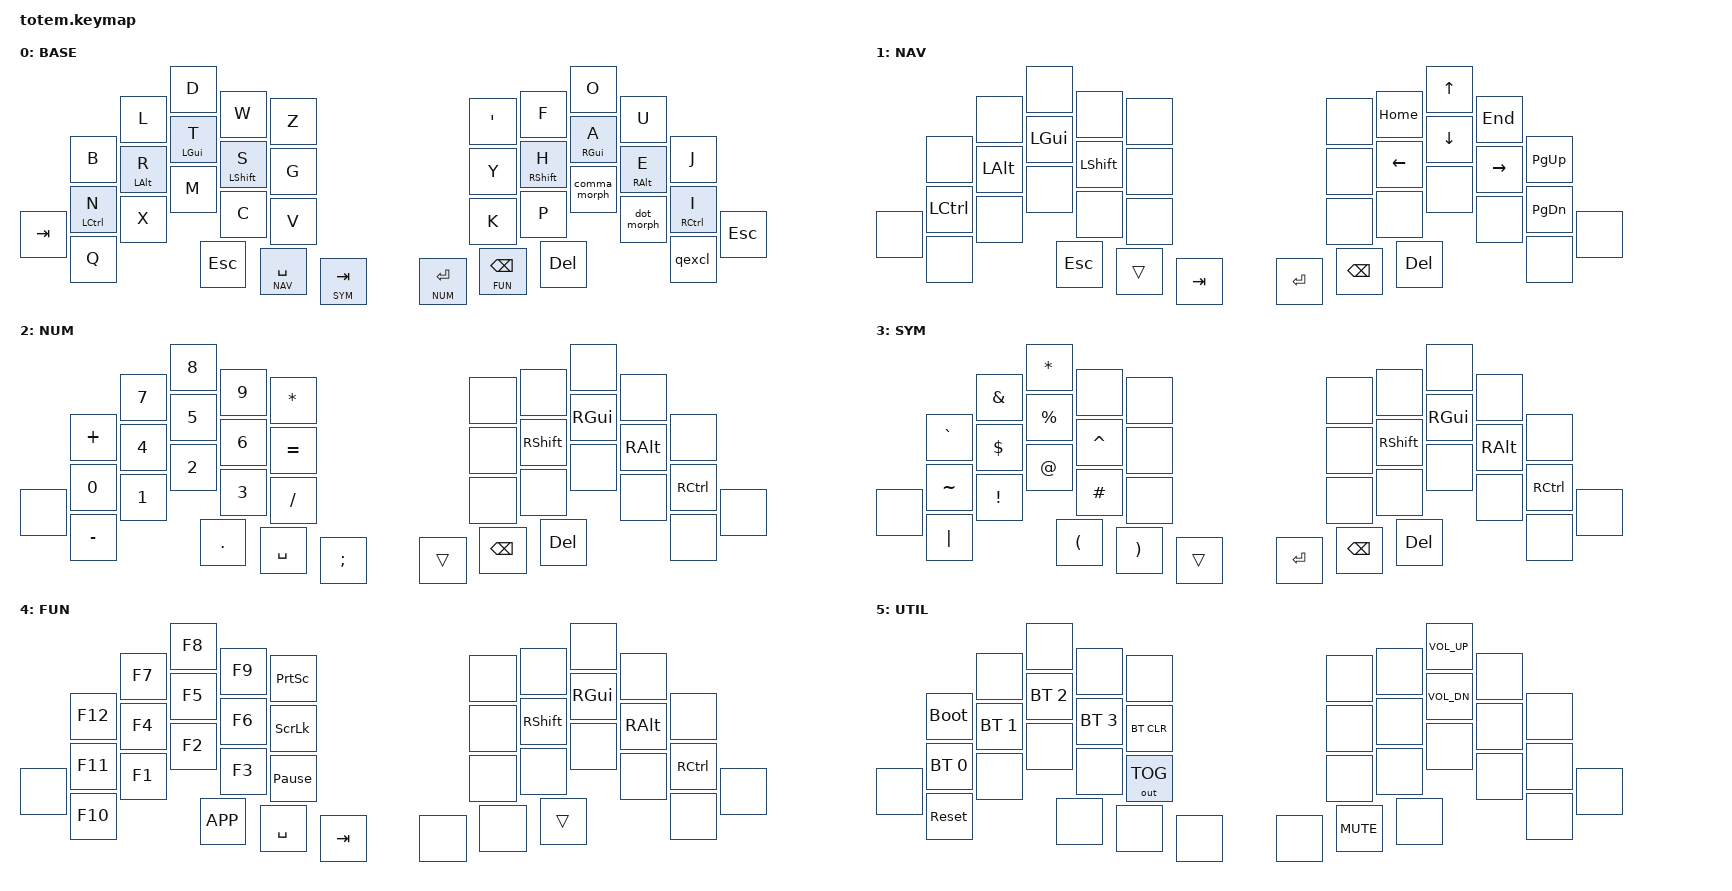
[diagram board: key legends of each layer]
/*
 * Graphite + Miryoku-style keymap for TOTEM 38-key
 *
 * Alphas: Graphite (https://github.com/rdavison/graphite-layout)
 * Layers: Miryoku-inspired (Nav, Num, Sym, Fun, Util)
 * HRMs:   urob's timer-less home row mods
 * Combos: Vertical/horizontal symbol combos (bsag-inspired)
 *
 * Key positions:
 *          0   1   2   3   4       5   6   7   8   9
 *         10  11  12  13  14      15  16  17  18  19
 *   20    21  22  23  24  25      26  27  28  29  30   31
 *                 32  33  34      35  36  37
 */

#include <behaviors.dtsi>
#include <dt-bindings/zmk/keys.h>
#include <dt-bindings/zmk/bt.h>
#include <dt-bindings/zmk/outputs.h>

#define BASE 0
#define NAV  1
#define NUM  2
#define SYM  3
#define FUN  4
#define UTIL 5

#define XXX &none
#define ___ &trans

#define QUICK_TAP_MS 175

/* ── key position groups for HRMs ── */
#define KEYS_L 0 1 2 3 4 10 11 12 13 14 20 21 22 23 24 25
#define KEYS_R 5 6 7 8 9 15 16 17 18 19 26 27 28 29 30 31
#define THUMBS 32 33 34 35 36 37

/* ── general config ── */

&caps_word {
    continue-list = <UNDERSCORE MINUS BACKSPACE DELETE>;
};

&sk {
    release-after-ms = <2000>;
    quick-release;
};

&lt {
    flavor = "balanced";
    tapping-term-ms = <200>;
    quick-tap-ms = <QUICK_TAP_MS>;
};

/* ── urob-style home row mods ── */

/ {
    behaviors {
        hml: home_row_mod_left {
            compatible = "zmk,behavior-hold-tap";
            #binding-cells = <2>;
            flavor = "balanced";
            tapping-term-ms = <280>;
            quick-tap-ms = <QUICK_TAP_MS>;
            require-prior-idle-ms = <150>;
            bindings = <&kp>, <&kp>;
            hold-trigger-key-positions = <KEYS_R THUMBS>;
            hold-trigger-on-release;
        };

        hmr: home_row_mod_right {
            compatible = "zmk,behavior-hold-tap";
            #binding-cells = <2>;
            flavor = "balanced";
            tapping-term-ms = <280>;
            quick-tap-ms = <QUICK_TAP_MS>;
            require-prior-idle-ms = <150>;
            bindings = <&kp>, <&kp>;
            hold-trigger-key-positions = <KEYS_L THUMBS>;
            hold-trigger-on-release;
        };

        /* comma → semicolon when shifted */
        comma_morph: comma_morph {
            compatible = "zmk,behavior-mod-morph";
            #binding-cells = <0>;
            bindings = <&kp COMMA>, <&kp SEMICOLON>;
            mods = <(MOD_LSFT|MOD_RSFT)>;
        };

        /* dot → colon when shifted */
        dot_morph: dot_morph {
            compatible = "zmk,behavior-mod-morph";
            #binding-cells = <0>;
            bindings = <&kp DOT>, <&kp COLON>;
            mods = <(MOD_LSFT|MOD_RSFT)>;
        };

        /* qmark → excl when shifted */
        qexcl: qexcl {
            compatible = "zmk,behavior-mod-morph";
            #binding-cells = <0>;
            bindings = <&kp QMARK>, <&kp EXCL>;
            mods = <(MOD_LSFT|MOD_RSFT)>;
        };
    };

/* ── combos ── */

    combos {
        compatible = "zmk,combos";

        /* caps word: both index home row keys */
        combo_capsw {
            timeout-ms = <30>;
            key-positions = <13 16>;
            bindings = <&caps_word>;
            layers = <BASE NAV NUM>;
        };

        /* ── left hand vertical: top + home ── */
        combo_at {
            timeout-ms = <30>;
            key-positions = <1 11>;
            bindings = <&kp AT>;
            layers = <BASE NAV NUM>;
            require-prior-idle-ms = <150>;
        };
        combo_hash {
            timeout-ms = <30>;
            key-positions = <2 12>;
            bindings = <&kp HASH>;
            layers = <BASE NAV NUM>;
            require-prior-idle-ms = <150>;
        };
        combo_dllr {
            timeout-ms = <30>;
            key-positions = <3 13>;
            bindings = <&kp DLLR>;
            layers = <BASE NAV NUM>;
            require-prior-idle-ms = <150>;
        };
        combo_prcnt {
            timeout-ms = <30>;
            key-positions = <4 14>;
            bindings = <&kp PRCNT>;
            layers = <BASE NAV NUM>;
            require-prior-idle-ms = <150>;
        };

        /* ── left hand vertical: home + bottom ── */
        combo_grave {
            timeout-ms = <30>;
            key-positions = <11 22>;
            bindings = <&kp GRAVE>;
            layers = <BASE NAV NUM>;
            require-prior-idle-ms = <150>;
        };
        combo_bslh {
            timeout-ms = <30>;
            key-positions = <12 23>;
            bindings = <&kp BSLH>;
            layers = <BASE NAV NUM>;
            require-prior-idle-ms = <150>;
        };
        combo_equal {
            timeout-ms = <30>;
            key-positions = <13 24>;
            bindings = <&kp EQUAL>;
            layers = <BASE NAV NUM>;
            require-prior-idle-ms = <150>;
        };
        combo_tilde {
            timeout-ms = <30>;
            key-positions = <14 25>;
            bindings = <&kp TILDE>;
            layers = <BASE NAV NUM>;
            require-prior-idle-ms = <150>;
        };

        /* ── right hand vertical: top + home ── */
        combo_caret {
            timeout-ms = <30>;
            key-positions = <5 15>;
            bindings = <&kp CARET>;
            layers = <BASE NAV NUM>;
            require-prior-idle-ms = <150>;
        };
        combo_plus {
            timeout-ms = <30>;
            key-positions = <6 16>;
            bindings = <&kp PLUS>;
            layers = <BASE NAV NUM>;
            require-prior-idle-ms = <150>;
        };
        combo_star {
            timeout-ms = <30>;
            key-positions = <7 17>;
            bindings = <&kp STAR>;
            layers = <BASE NAV NUM>;
            require-prior-idle-ms = <150>;
        };
        combo_amps {
            timeout-ms = <30>;
            key-positions = <8 18>;
            bindings = <&kp AMPS>;
            layers = <BASE NAV NUM>;
            require-prior-idle-ms = <150>;
        };

        /* ── right hand vertical: home + bottom ── */
        combo_under {
            timeout-ms = <30>;
            key-positions = <15 26>;
            bindings = <&kp UNDER>;
            layers = <BASE NAV NUM>;
            require-prior-idle-ms = <150>;
        };
        combo_minus {
            timeout-ms = <30>;
            key-positions = <16 27>;
            bindings = <&kp MINUS>;
            layers = <BASE NAV NUM>;
            require-prior-idle-ms = <150>;
        };
        combo_fslh {
            timeout-ms = <30>;
            key-positions = <17 28>;
            bindings = <&kp FSLH>;
            layers = <BASE NAV NUM>;
            require-prior-idle-ms = <150>;
        };
        combo_pipe {
            timeout-ms = <30>;
            key-positions = <18 29>;
            bindings = <&kp PIPE>;
            layers = <BASE NAV NUM>;
            require-prior-idle-ms = <150>;
        };

        /* ── right hand horizontal: brackets/parens/braces ── */
        combo_lbkt {
            timeout-ms = <18>;
            key-positions = <6 7>;
            bindings = <&kp LBKT>;
            layers = <BASE NAV NUM>;
        };
        combo_rbkt {
            timeout-ms = <18>;
            key-positions = <7 8>;
            bindings = <&kp RBKT>;
            layers = <BASE NAV NUM>;
        };
        combo_lpar {
            timeout-ms = <18>;
            key-positions = <16 17>;
            bindings = <&kp LPAR>;
            layers = <BASE NAV NUM>;
        };
        combo_rpar {
            timeout-ms = <18>;
            key-positions = <17 18>;
            bindings = <&kp RPAR>;
            layers = <BASE NAV NUM>;
        };
        combo_lbrc {
            timeout-ms = <18>;
            key-positions = <27 28>;
            bindings = <&kp LBRC>;
            layers = <BASE NAV NUM>;
        };
        combo_rbrc {
            timeout-ms = <18>;
            key-positions = <28 29>;
            bindings = <&kp RBRC>;
            layers = <BASE NAV NUM>;
        };
        combo_lt {
            timeout-ms = <18>;
            key-positions = <15 16>;
            bindings = <&kp LT>;
            layers = <BASE NAV NUM>;
        };
        combo_gt {
            timeout-ms = <18>;
            key-positions = <18 19>;
            bindings = <&kp GT>;
            layers = <BASE NAV NUM>;
        };

        /* ── left hand horizontal: cut/copy/paste ── */
        combo_cut {
            timeout-ms = <18>;
            key-positions = <22 24>;
            bindings = <&kp LC(X)>;
            layers = <BASE NAV NUM>;
        };
        combo_copy {
            timeout-ms = <18>;
            key-positions = <22 23>;
            bindings = <&kp LC(C)>;
            layers = <BASE NAV NUM>;
        };
        combo_paste {
            timeout-ms = <18>;
            key-positions = <23 24>;
            bindings = <&kp LC(V)>;
            layers = <BASE NAV NUM>;
        };
    };

/* ── conditional layer: NAV + NUM = UTIL ── */

    conditional_layers {
        compatible = "zmk,conditional-layers";
        tri_layer {
            if-layers = <NAV NUM>;
            then-layer = <UTIL>;
        };
    };

/* ── keymap ── */

    keymap {
        compatible = "zmk,keymap";

        base_layer {
            label = "BASE";
// Graphite
//          B       L       D       W       Z           '       F       O       U       J
//          N       R       T       S       G           Y       H       A       E       I
//  TAB     Q       X       M       C       V           K       P       ,;      .:      ?!      ESC
//                          ESC     NAV/SPC SYM/TAB     NUM/RET FUN/BSP DEL
            bindings = <
                &kp B       &kp L       &kp D       &kp W       &kp Z           &kp SQT     &kp F       &kp O       &kp U       &kp J
                &hml LCTRL N &hml LALT R &hml LGUI T &hml LSHFT S &kp G        &kp Y       &hmr RSHFT H &hmr RGUI A &hmr RALT E &hmr RCTRL I
    &kp TAB     &kp Q       &kp X       &kp M       &kp C       &kp V           &kp K       &kp P       &comma_morph &dot_morph  &qexcl      &kp ESC
                                        &kp ESC   &lt NAV SPACE &lt SYM TAB     &lt NUM RET &lt FUN BSPC &kp DEL
            >;
        };

        nav_layer {
            label = "NAV";
//          ---     ---     ---     ---     ---         ---     HOME    UP      END     PG_UP
//          LCTRL   LALT    LGUI    LSHFT   ---         ---     LEFT    DOWN    RIGHT   PG_DN
//  ---     ---     ---     ---     ---     ---         ---     ---     ---     ---     ---     ---
//                          ESC     ___     TAB         RET     BSPC    DEL
            bindings = <
                XXX         XXX         XXX         XXX         XXX             XXX         &kp HOME    &kp UP      &kp END     &kp PG_UP
                &kp LCTRL   &kp LALT    &kp LGUI    &kp LSHFT   XXX             XXX         &kp LEFT    &kp DOWN    &kp RIGHT   &kp PG_DN
    XXX         XXX         XXX         XXX         XXX         XXX             XXX         XXX         XXX         XXX         XXX         XXX
                                        &kp ESC     ___         &kp TAB         &kp RET     &kp BSPC    &kp DEL
            >;
        };

        num_layer {
            label = "NUM";
//          +       7       8       9       *           ---     ---     ---     ---     ---
//          0       4       5       6       =           ---     RSHFT   RGUI    RALT    RCTRL
//  ---     -       1       2       3       /           ---     ---     ---     ---     ---     ---
//                          .       SPACE   ;           ___     BSPC    DEL
            bindings = <
                &kp PLUS    &kp N7      &kp N8      &kp N9      &kp STAR        XXX         XXX         XXX         XXX         XXX
                &kp N0      &kp N4      &kp N5      &kp N6      &kp EQUAL       XXX         &kp RSHFT   &kp RGUI    &kp RALT    &kp RCTRL
    XXX         &kp MINUS   &kp N1      &kp N2      &kp N3      &kp FSLH        XXX         XXX         XXX         XXX         XXX         XXX
                                        &kp DOT     &kp SPACE   &kp SEMI        ___         &kp BSPC    &kp DEL
            >;
        };

        sym_layer {
            label = "SYM";
//          `       &       *       ---     ---         ---     ---     ---     ---     ---
//          ~       $       %       ^       ---         ---     RSHFT   RGUI    RALT    RCTRL
//  ---     |       !       @       #       ---         ---     ---     ---     ---     ---     ---
//                          (       )       ___         RET     BSPC    DEL
            bindings = <
                &kp GRAVE   &kp AMPS    &kp STAR    XXX         XXX             XXX         XXX         XXX         XXX         XXX
                &kp TILDE   &kp DLLR    &kp PRCNT   &kp CARET   XXX             XXX         &kp RSHFT   &kp RGUI    &kp RALT    &kp RCTRL
    XXX         &kp PIPE    &kp EXCL    &kp AT      &kp HASH    XXX             XXX         XXX         XXX         XXX         XXX         XXX
                                        &kp LPAR    &kp RPAR    ___             &kp RET     &kp BSPC    &kp DEL
            >;
        };

        fun_layer {
            label = "FUN";
//          F12     F7      F8      F9      PSCRN       ---     ---     ---     ---     ---
//          F11     F4      F5      F6      SLCK        ---     RSHFT   RGUI    RALT    RCTRL
//  ---     F10     F1      F2      F3      PAUSE       ---     ---     ---     ---     ---     ---
//                          APP     SPACE   TAB         ___     BSPC    DEL
            bindings = <
                &kp F12     &kp F7      &kp F8      &kp F9      &kp PSCRN       XXX         XXX         XXX         XXX         XXX
                &kp F11     &kp F4      &kp F5      &kp F6      &kp SLCK        XXX         &kp RSHFT   &kp RGUI    &kp RALT    &kp RCTRL
    XXX         &kp F10     &kp F1      &kp F2      &kp F3      &kp PAUSE_BREAK XXX         XXX         XXX         XXX         XXX         XXX
                                        &kp K_APP   &kp SPACE   &kp TAB         XXX         XXX         ___
            >;
        };

        util_layer {
            label = "UTIL";
//          BOOT    ---     ---     ---     ---         ---     ---     VOL_UP  ---     ---
//          BT0     BT1     BT2     BT3     BT_CLR      ---     ---     VOL_DN  ---     ---
//  ---     RESET   ---     ---     ---     OUT_TOG     ---     ---     ---     ---     ---     ---
//                          ---     ---     ---         ---     MUTE    ---
            bindings = <
                &bootloader XXX         XXX         XXX         XXX             XXX         XXX         &kp C_VOL_UP XXX        XXX
                &bt BT_SEL 0 &bt BT_SEL 1 &bt BT_SEL 2 &bt BT_SEL 3 &bt BT_CLR  XXX       XXX         &kp C_VOL_DN XXX        XXX
    XXX         &sys_reset  XXX         XXX         XXX         &out OUT_TOG    XXX         XXX         XXX         XXX         XXX         XXX
                                        XXX         XXX         XXX             XXX         &kp C_MUTE  XXX
            >;
        };
    };
};
